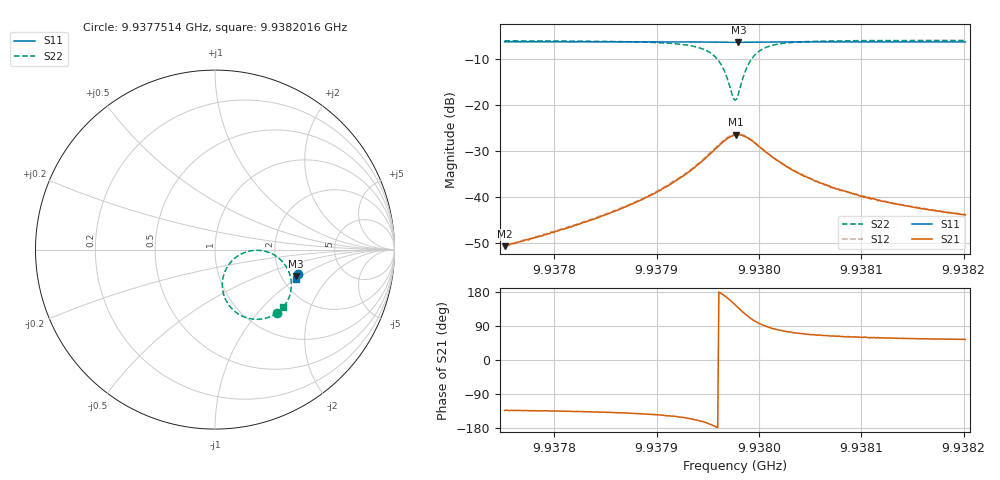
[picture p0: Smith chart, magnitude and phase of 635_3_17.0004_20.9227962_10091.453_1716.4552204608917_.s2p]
#  HZ  S  RI  R  50.00
! Rohde & Schwarz Vector Network Analyzer
! Rohde-Schwarz,ZNB20-2Port,1311601062101988,3.16
! Created: UTC 3/20/2024, 11:20:36 PM
! freq[Hz]  re:S11  im:S11  re:S21  im:S21  re:S12  im:S12  re:S22  im:S22
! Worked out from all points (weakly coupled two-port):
!   401 points, 9.9377514 GHz to 9.9382016 GHz, reference 50 ohm
!   highest |S21| = -26.46 dB at 9.9379776 GHz (marker M1); lowest = -50.7 dB at 9.9377514 GHz (marker M2)
!   lowest |S11| = -6.5 dB at 9.9379799 GHz (marker M3), VSWR 2.81, Z = 120 - j46.2 ohm
!   |S11| at or under -10 dB: nowhere
!   |S22| runs from -19.0 to -6.1 dB; largest |S21 - S12| = 0.0022
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9.93775136e9  0.4615 -0.138  -0.002 -0.00214  -0.00204 -0.00218  0.3463 -0.3519
9.93782678e9  0.4595 -0.1431  -0.00375 -0.0036  -0.00387 -0.0036  0.3264 -0.3644
9.93787069e9  0.4581 -0.1463  -0.00608 -0.00509  -0.00625 -0.00508  0.3037 -0.3754
9.93790221e9  0.4569 -0.1485  -0.00952 -0.00672  -0.00986 -0.00667  0.2718 -0.3846
9.93793485e9  0.4551 -0.1511  -0.0183 -0.00801  -0.0189 -0.00812  0.1975 -0.3852
9.93795286e9  0.4532 -0.1521  -0.0294 -0.00513  -0.0302 -0.00463  0.1111 -0.345
9.93795849e9  0.4524 -0.1521  -0.0341 -0.00178  -0.0351 -0.000947  0.0774 -0.3096
9.93796412e9  0.4517 -0.152  -0.0387 0.00423  -0.0397 0.0054  0.0496 -0.2539
9.93796862e9  0.4511 -0.1516  -0.0412 0.0113  -0.0419 0.0128  0.0406 -0.1932
9.93797425e9  0.4508 -0.1505  -0.0407 0.0219  -0.0411 0.0239  0.0626 -0.1069
9.9379765e9  0.4507 -0.1501  -0.039 0.0265  -0.0389 0.0285  0.0837 -0.0746
9.93797763e9  0.4508 -0.1498  -0.038 0.0285  -0.0375 0.0304  0.0969 -0.0602
9.93797988e9  0.4509 -0.1496  -0.0348 0.0321  -0.0344 0.0341  0.1274 -0.0353
9.93798551e9  0.4519 -0.149  -0.0251 0.0381  -0.024 0.0398  0.215 -0.00452
9.93798889e9  0.4527 -0.1489  -0.0191 0.0393  -0.0176 0.0406  0.2656 -0.00646
9.93799452e9  0.4534 -0.1493  -0.0102 0.0385  -0.00878 0.0389  0.3321 -0.031
9.93800014e9  0.4541 -0.1498  -0.00391 0.035  -0.00288 0.0354  0.3755 -0.0667
9.93801816e9  0.455 -0.152  0.00444 0.0244  0.00522 0.0244  0.423 -0.1644
9.93805193e9  0.4544 -0.1552  0.006 0.0142  0.00645 0.0142  0.4186 -0.2481
9.93807782e9  0.4538 -0.1574  0.00541 0.0109  0.00586 0.0107  0.4086 -0.2759
9.93812735e9  0.4524 -0.161  0.0046 0.00737  0.0048 0.00735  0.3937 -0.303
9.93820165e9  0.4503 -0.1659  0.00374 0.00519  0.00387 0.00521  0.3797 -0.3222
